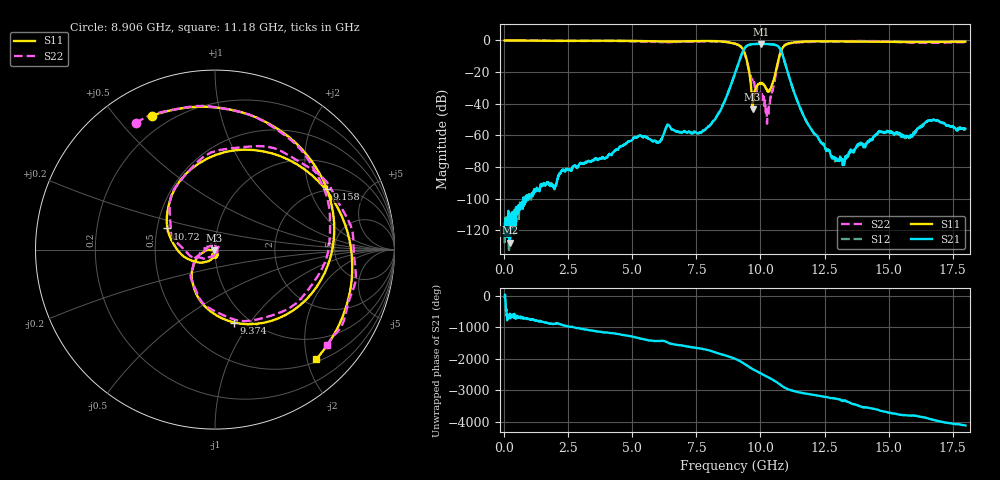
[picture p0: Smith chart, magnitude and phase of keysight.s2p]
!Keysight Technologies,E5080B,MY59500459,A.17.35.16
!Date: Friday, August 22, 2025 11:18:45
!Correction: S11(C  2-Port  )
!S21(C  2-Port  )
!S12(C  2-Port  )
!S22(C  2-Port  )
!S2P File: Measurements: S11, S21, S12, S22:
# Hz S  dB  R 50
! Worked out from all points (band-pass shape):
!   2001 points, 10 MHz to 18 GHz, reference 50 ohm
!   highest |S21| = -2.14 dB at 10.02 GHz (marker M1); lowest = -127.7 dB at 207.9 MHz (marker M2)
!   |S21| within 3 dB of the highest: 9.374 GHz to 10.76 GHz (1.388 GHz wide, 13.8 % of centre)
!   lowest |S11| = -43.6 dB at 9.689 GHz (marker M3), VSWR 1.01, Z = 49.5 - j0.43 ohm
!   |S11| at or under -10 dB: 9.425 GHz to 10.74 GHz (1.31 GHz wide, 13 % of centre)
!   |S22| runs from -52.6 to 0.0 dB; largest |S21 - S12| = 0.001
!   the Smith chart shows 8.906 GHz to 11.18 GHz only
!   S11 on the Smith chart (normalised r, x): 8.906 GHz: 0.14, +0.63; 9.158 GHz: 1.94, +2.64; 9.374 GHz: 0.86, -0.85; 10.72 GHz: 0.57, +0.15; 11.18 GHz: 0.55, -2.16
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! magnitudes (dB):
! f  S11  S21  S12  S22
! 10 MHz  0.0  -121.2  -128.0  0.0
! 207.9 MHz  0.0  -127.7  -116.4  0.0
! 3.014 GHz  -0.2  -77.8  -77.8  -0.3
! 5.254 GHz  -0.4  -60.2  -60.3  -0.5
! 6.01 GHz  -0.6  -64.8  -64.8  -1.1
! 6.387 GHz  -0.7  -53.2  -53.2  -0.6
! 7.854 GHz  -0.3  -56.2  -56.1  -0.6
! 8.906 GHz  -1.7  -25.5  -25.5  -1.6
! 9.005 GHz  -2.1  -20.8  -20.8  -2.0
! 9.158 GHz  -3.0  -13.5  -13.5  -3.1
! 9.374 GHz  -7.5  -5.1  -5.1  -8.1
! 9.689 GHz  -43.6  -2.4  -2.4  -24.8
! 10.02 GHz  -27.0  -2.1  -2.1  -37.9
! 10.29 GHz  -32.2  -2.3  -2.3  -44.8
! 10.72 GHz  -10.7  -4.2  -4.2  -11.3
! 11.18 GHz  -1.6  -26.4  -26.4  -1.7
! 12.01 GHz  -0.6  -56.8  -56.7  -0.9
! 13.21 GHz  -0.6  -78.9  -76.0  -0.5
! 15 GHz  -0.8  -57.8  -57.5  -0.7
! 15.81 GHz  -1.0  -60.5  -61.0  -1.3
! 16.69 GHz  -0.9  -50.5  -50.5  -1.5
! 18 GHz  -0.7  -55.8  -56.0  -1.0
